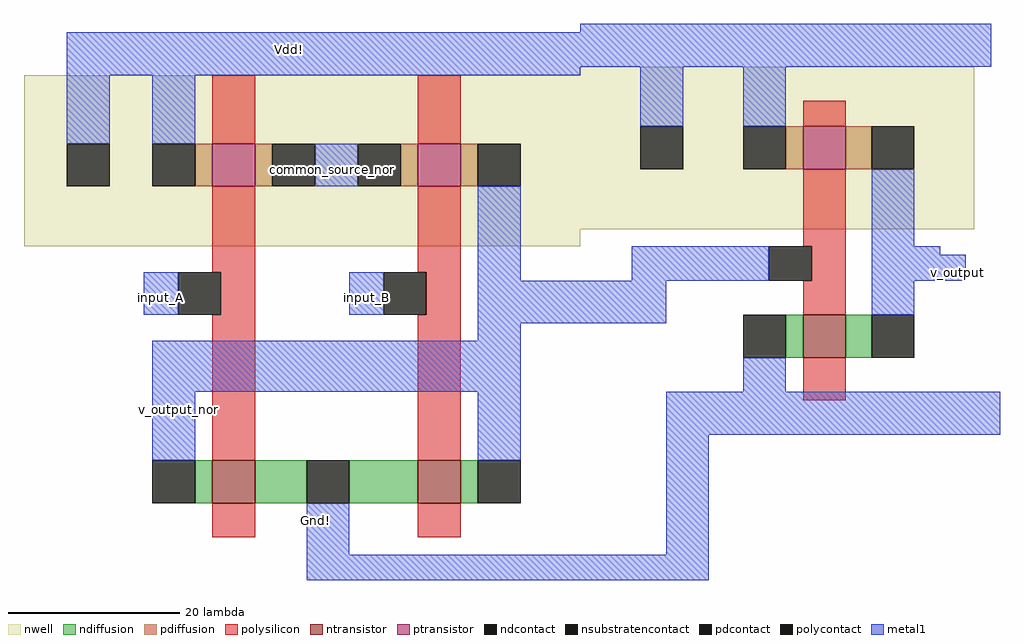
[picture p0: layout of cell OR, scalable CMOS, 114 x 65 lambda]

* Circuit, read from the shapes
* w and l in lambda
.subckt OR Gnd! Vdd! common_source_nor input_A input_B v_output v_output_nor
M1 Gnd! input_A v_output_nor VSUBS nfet w=5 l=5
M2 v_output_nor input_B Gnd! VSUBS nfet w=5 l=5
M3 v_output v_output_nor Gnd! VSUBS nfet w=5 l=5
M4 common_source_nor input_A Vdd! Vdd! pfet w=5 l=5
M5 v_output_nor input_B common_source_nor Vdd! pfet w=5 l=5
M6 v_output v_output_nor Vdd! Vdd! pfet w=5 l=5
.ends

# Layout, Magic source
magic
tech scmos
<< nwell >>
rect -34 5 31 25
<< ntransistor >>
rect -12 -25 -7 -20
rect 12 -25 17 -20
<< ptransistor >>
rect -12 12 -7 17
rect 12 12 17 17
<< ndiffusion >>
rect -14 -25 -12 -20
rect -7 -25 -1 -20
rect 4 -25 12 -20
rect 17 -25 19 -20
<< pdiffusion >>
rect -14 12 -12 17
rect -7 12 -5 17
rect 10 12 12 17
rect 17 12 19 17
<< ndcontact >>
rect -19 -25 -14 -20
rect -1 -25 4 -20
rect 19 -25 24 -20
<< pdcontact >>
rect -19 12 -14 17
rect -5 12 0 17
rect 5 12 10 17
rect 19 12 24 17
<< nsubstratencontact >>
rect -29 12 -24 17
<< polysilicon >>
rect -12 17 -7 25
rect 12 17 17 25
rect -12 2 -7 12
rect 12 2 17 12
rect -11 -3 -7 2
rect 13 -3 17 2
rect -12 -20 -7 -3
rect 12 -20 17 -3
rect -12 -29 -7 -25
rect 12 -29 17 -25
<< polycontact >>
rect -16 -3 -11 2
rect 8 -3 13 2
<< metal1 >>
rect -29 25 31 30
rect -29 17 -24 25
rect -19 17 -14 25
rect 0 12 5 17
rect -20 -3 -16 2
rect 4 -3 8 2
rect 19 1 24 12
rect 37 1 49 5
rect 70 1 76 4
rect 19 -4 41 1
rect 19 -6 24 -4
rect -19 -12 24 -6
rect -19 -20 -14 -12
rect 19 -20 24 -12
rect -1 -31 4 -25
rect 41 -31 46 -12
rect -1 -34 46 -31
use not_without_labels  not_without_labels_0
transform 1 0 47 0 1 -5
box -16 -12 33 36
<< labels >>
rlabel metal1 -3 28 -3 28 5 Vdd!
rlabel metal1 2 14 2 14 1 common_source_nor
rlabel metal1 -18 -1 -18 -1 1 input_A
rlabel metal1 6 -1 6 -1 1 input_B
rlabel metal1 0 -27 0 -27 1 Gnd!
rlabel metal1 -16 -14 -16 -14 1 v_output_nor
rlabel metal1 75 2 75 2 7 v_output
<< end >>

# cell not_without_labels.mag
magic
tech scmos
<< nwell >>
rect -16 12 30 31
<< ntransistor >>
rect 10 -3 15 2
<< ptransistor >>
rect 10 19 15 24
<< ndiffusion >>
rect 8 -3 10 2
rect 15 -3 18 2
<< pdiffusion >>
rect 8 19 10 24
rect 15 19 18 24
<< ndcontact >>
rect 3 -3 8 2
rect 18 -3 23 2
<< pdcontact >>
rect 3 19 8 24
rect 18 19 23 24
<< nsubstratencontact >>
rect -9 19 -4 24
<< polysilicon >>
rect 10 24 15 27
rect 10 10 15 19
rect 11 6 15 10
rect 10 2 15 6
rect 10 -8 15 -3
<< polycontact >>
rect 6 6 11 10
<< metal1 >>
rect -16 31 32 36
rect -9 24 -4 31
rect 3 24 8 31
rect 18 10 23 19
rect 2 6 6 10
rect 18 6 26 10
rect 18 2 23 6
rect 3 -7 8 -3
rect -6 -12 33 -7
<< end >>
